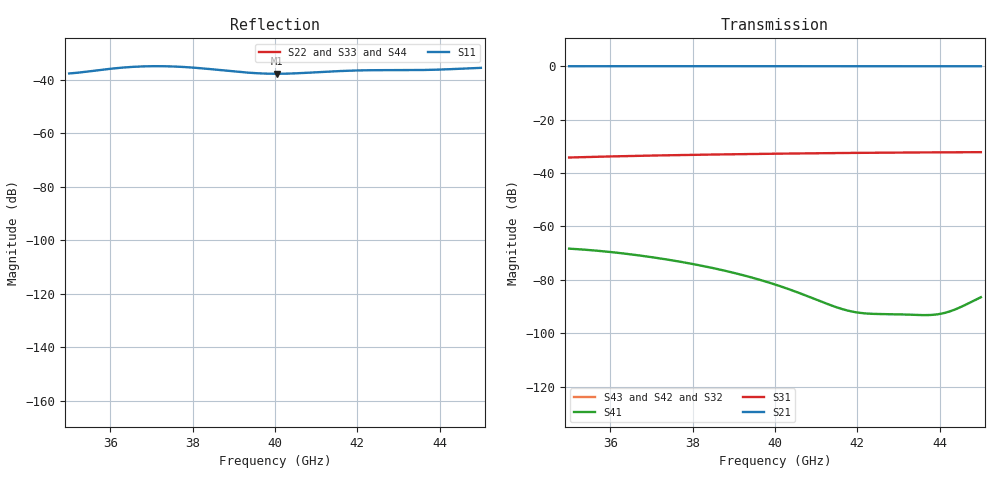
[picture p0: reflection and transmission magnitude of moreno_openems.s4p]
! Moreno cross-guide coupler, openEMS FDTD
! only column 1 (port 1 excited) and, by reciprocity, row 1 are simulated; other entries are zero
! S-parameters are normalised to each port's TE10 wave impedance (generalised
! S-matrix); 'R 50' below is only the placeholder the format requires.
! Reference planes: edges of the common a x a square.
# GHz S MA R 50
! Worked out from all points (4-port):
!   201 points, 35 GHz to 45 GHz, reference 50 ohm
!   strongest paths, dB at 35 GHz, 37.5 GHz, 40 GHz, 42.5 GHz, 45 GHz:
!     S21: 0.0, 0.0, 0.0, 0.0, 0.0
!     S31: -34.2, -33.3, -32.8, -32.4, -32.2
!     S41: -68.3, -72.7, -81.7, -92.8, -86.5
!     S43: -, -, -, -, -
!     S42: -, -, -, -, -
!     S32: -, -, -, -, -
!   lowest |S11| = -37.6 dB at 40.05 GHz (marker M1), VSWR 1.03, Z = 51.3 + j0.421 ohm
!   |S11| at or under -10 dB: start of sweep to end of sweep
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35  0.0133 -147.1  0.9986 -159.5  0.0195 110.5  0.0003832 -70.1
    0.9986 -159.5  0 0.0  0 0.0  0 0.0
    0.0195 110.5  0 0.0  0 0.0  0 0.0
    0.0003832 -70.1  0 0.0  0 0.0  0 0.0
37.15  0.01822 -77.6  1.001 178.6  0.02131 88.6  0.0002555 -113.0
       1.001 178.6  0 0.0  0 0.0  0 0.0
       0.02131 88.6  0 0.0  0 0.0  0 0.0
       0.0002555 -113.0  0 0.0  0 0.0  0 0.0
38.45  0.016 -43.0  0.9995 165.9  0.02214 75.9  0.0001687 -136.2
       0.9995 165.9  0 0.0  0 0.0  0 0.0
       0.02214 75.9  0 0.0  0 0.0  0 0.0
       0.0001687 -136.2  0 0.0  0 0.0  0 0.0
39.65  0.01333 1.3  0.9993 154.6  0.0228 64.6  9.909e-05 -154.5
       0.9993 154.6  0 0.0  0 0.0  0 0.0
       0.0228 64.6  0 0.0  0 0.0  0 0.0
       9.909e-05 -154.5  0 0.0  0 0.0  0 0.0
40.05  0.01313 18.2  0.9994 150.9  0.023 60.9  7.946e-05 -159.2
       0.9994 150.9  0 0.0  0 0.0  0 0.0
       0.023 60.9  0 0.0  0 0.0  0 0.0
       7.946e-05 -159.2  0 0.0  0 0.0  0 0.0
42.6  0.01536 105.7  1 127.6  0.02402 37.6  2.283e-05 -142.2
      1 127.6  0 0.0  0 0.0  0 0.0
      0.02402 37.6  0 0.0  0 0.0  0 0.0
      2.283e-05 -142.2  0 0.0  0 0.0  0 0.0
45  0.01695 -179.0  0.9978 106.5  0.02455 16.5  4.723e-05 77.3
    0.9978 106.5  0 0.0  0 0.0  0 0.0
    0.02455 16.5  0 0.0  0 0.0  0 0.0
    4.723e-05 77.3  0 0.0  0 0.0  0 0.0
